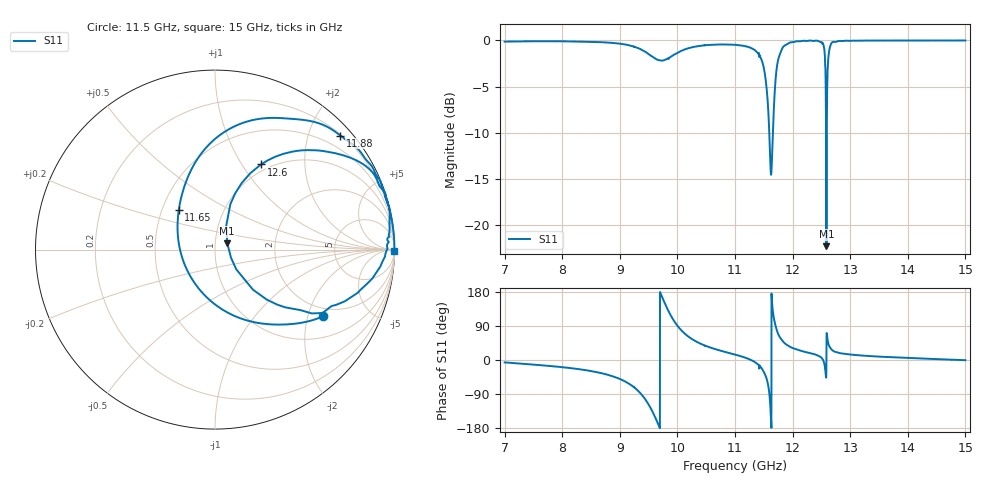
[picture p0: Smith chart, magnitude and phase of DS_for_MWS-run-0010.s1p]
! TOUCHSTONE file generated by CST DESIGN STUDIO
! Date and time: Mon Feb 10 16:57:20 2025
! Project name: C:\Work\MatlabApps\UnitCellType2OptimizationMatlab\CST\unitcell.cst
! Tree item: Tasks\Sweep1\SPara1\S-Parameters
! Header version: 2024
! Port assignment regex: !\s*Touchstone port\s*([0-9]+)\s*=\s*(CST MWS port|CST DES external port|CST DES block port)\s*(.+)\s* \(\"(.*)\"\)(\s*mode\s*([0-9]+))?.*
! Touchstone port assignment:
! Touchstone port 1 = CST DES external port 1 ("")
# GHz S MA R 50
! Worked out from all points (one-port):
!   4001 points, 7 GHz to 15 GHz, reference 50 ohm
!   lowest |S11| = -22.3 dB at 12.59 GHz (marker M1), VSWR 1.17, Z = 57.2 + j4.13 ohm
!   |S11| at or under -10 dB: 11.6 GHz to 11.66 GHz (61.7 MHz wide, 0.531 % of centre); 12.58179 GHz to 12.59357 GHz (11.77 MHz wide, 0.0935 % of centre)
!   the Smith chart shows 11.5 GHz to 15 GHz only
!   S11 on the Smith chart (normalised r, x): 11.5 GHz: 1.68, -2.49; 11.65 GHz: 0.61, +0.29; 11.88 GHz: 0.22, +2.57; 12.6 GHz: 0.91, +1.22; 15 GHz: open
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7  0.9856 -6.2
8  0.9892 -18.9
9  0.961 -50.0
9.228  0.9305 -69.8
9.424  0.8748 -99.9
9.546  0.8248 -129.8
9.67  0.7837 -170.5
9.842  0.7981 129.8
10  0.8578 90.5
10.372  0.933 45.2
11  0.9475 14.3
11.346  0.8859 -5.6
11.502  0.7061 -31.9
11.58  0.4053 -70.2
11.618  0.2006 -134.3
11.654  0.2977 132.8
11.738  0.7561 73.1
11.878  0.9438 42.3
12  0.9776 31.6
12.502  0.9773 5.9
12.548  0.9055 -8.3
12.588  0.07713 27.8
12.6  0.5388 61.7
12.634  0.8742 37.4
12.7  0.9817 24.5
13  0.9962 14.5
14  0.9989 5.3
15  0.9995 -0.5
